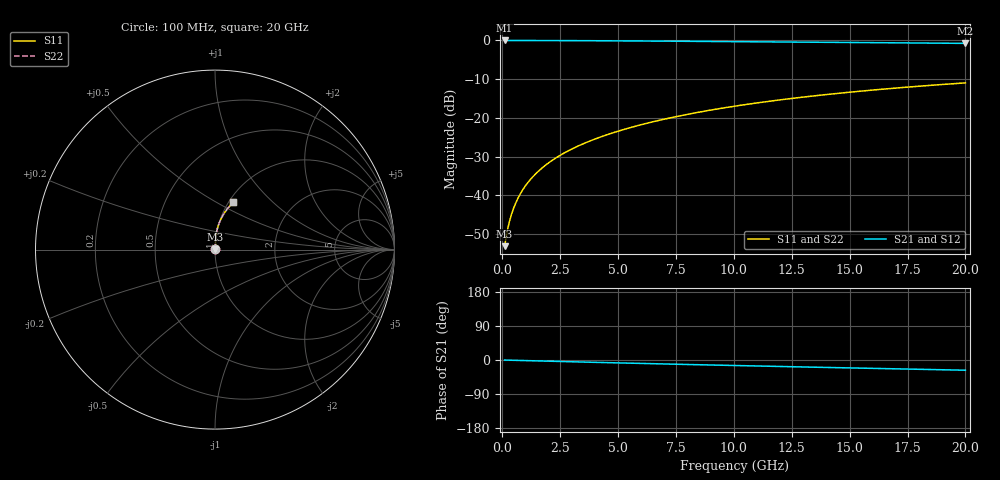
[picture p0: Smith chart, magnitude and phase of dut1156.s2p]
! Touchstone file exported from HFSS 2024.1.0
!  File:  C:/UserFiles/LocalFiles/RDL_TSV_Batchsim/temp_RDL_top_1156_1780048351.aedt
!  Generated:  05:54:49 PM May 29, 2026
!  Design:  RDL_top
!  Project:  temp_RDL_top_1156_1780048351
!  Setup:  Setup1
!  Solution:  Sweep
! Variables:
!  dtsv = 10.80580581um
!  hbump = 3um
!  htsv = 94.87um
!  ldown = 100um
!  lrdl = 340.87um
!  p = 40
!  p1 = 54.31um
!  rhole = 1um
!  t = 450um
!  tdown = 3.915915916um
!  trdl = 3.69um
!  wdown = 15.38538539um
!  wrdl = 21.92um
# GHz S MA R 50.000000
! Terminal data exported
! Port[1] = Box2_T1
! Port[2] = Box2_T2
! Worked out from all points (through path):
!   200 points, 100 MHz to 20 GHz, reference 50 ohm
!   highest |S21| = -0.01 dB at 100 MHz (marker M1); lowest = -0.8 dB at 20 GHz (marker M2)
!   group delay of S21, straight-line fit = 3.71 ps
!   lowest |S11| = -53.1 dB at 100 MHz (marker M3), VSWR 1.00, Z = 50.2 + j0.141 ohm
!   |S11| at or under -10 dB: start of sweep to end of sweep
!   |S22| runs from -53.1 to -11.0 dB; largest |S21 - S12| = 2.6e-15
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0.1  0.002202 39.7  0.9983 -0.2  0.9983 -0.2  0.002202 39.7
! Gamma 0 0 0 0
! Port Impedance 50 0 50 0
0.2  0.003287 57.4  0.9982 -0.3  0.9982 -0.3  0.003287 57.4
0.3  0.004487 65.7  0.9981 -0.5  0.9981 -0.5  0.004487 65.7
0.4  0.005711 70.5  0.998 -0.6  0.998 -0.6  0.005711 70.5
0.5  0.006946 73.6  0.9979 -0.8  0.9979 -0.8  0.006946 73.6
0.6  0.00819 75.9  0.9978 -1.0  0.9978 -1.0  0.00819 75.9
0.8  0.0107 79.0  0.9976 -1.3  0.9976 -1.3  0.0107 79.0
1.1  0.01452 81.7  0.9973 -1.7  0.9973 -1.7  0.01452 81.7
1.5  0.01968 83.7  0.9967 -2.4  0.9967 -2.4  0.01968 83.8
1.8  0.02359 84.7  0.9962 -2.8  0.9962 -2.8  0.02359 84.7
2.1  0.02753 85.3  0.9956 -3.3  0.9956 -3.3  0.02753 85.3
2.7  0.0355 86.1  0.9942 -4.2  0.9942 -4.2  0.03551 86.1
3.5  0.04633 86.5  0.9919 -5.4  0.9919 -5.4  0.04634 86.5
4.2  0.056 86.5  0.9895 -6.5  0.9895 -6.5  0.056 86.5
5  0.06726 86.3  0.9865 -7.7  0.9865 -7.7  0.06727 86.3
5.9  0.08017 85.8  0.9828 -8.9  0.9828 -8.9  0.08018 85.9
6.8  0.0933 85.2  0.979 -10.2  0.979 -10.2  0.09331 85.2
8.4  0.117 83.6  0.9718 -12.4  0.9718 -12.4  0.117 83.6
10.1  0.1424 81.7  0.9639 -14.7  0.9639 -14.7  0.1424 81.7
13.4  0.1913 77.4  0.9482 -18.9  0.9482 -18.9  0.1913 77.4
16.7  0.2383 73.0  0.9321 -23.0  0.9321 -23.0  0.2384 73.0
20  0.2828 68.7  0.9154 -27.0  0.9154 -27.0  0.2829 68.7
